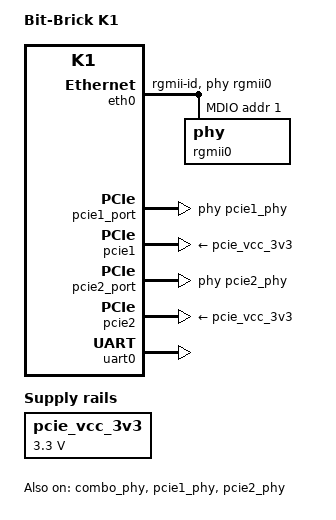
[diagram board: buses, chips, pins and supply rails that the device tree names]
// SPDX-License-Identifier: GPL-2.0 OR MIT
/*
 * Copyright (C) 2024 Yangyu Chen <cyy@cyyself.name>
 * Copyright (C) 2025 Javier Martinez Canillas <javierm@redhat.com>
 */

#include "k1.dtsi"
#include "k1-pinctrl.dtsi"

/ {
	model = "Bit-Brick K1";
	compatible = "bitbrick,k1", "spacemit,k1";

	aliases {
		ethernet0 = &eth0;
		serial0 = &uart0;
	};

	chosen {
		stdout-path = "serial0";
	};

 pcie_vcc_3v3: pcie-vcc3v3 {
   compatible = "regulator-fixed";
   regulator-name = "PCIE_VCC3V3";
   regulator-min-microvolt = <3300000>;
   regulator-max-microvolt = <3300000>;
   regulator-always-on;
 };
};

&combo_phy {
 pinctrl-names = "default";
 pinctrl-0 = <&pcie0_3_cfg>;
 status = "okay";
};

&eth0 {
	phy-handle = <&rgmii0>;
	phy-mode = "rgmii-id";
	pinctrl-names = "default";
	pinctrl-0 = <&gmac0_cfg>;
	rx-internal-delay-ps = <0>;
	tx-internal-delay-ps = <0>;
	status = "okay";

	mdio-bus {
		#address-cells = <0x1>;
		#size-cells = <0x0>;

		reset-gpios = <&gpio K1_GPIO(110) GPIO_ACTIVE_LOW>;
		reset-delay-us = <10000>;
		reset-post-delay-us = <100000>;

		rgmii0: phy@1 {
			reg = <0x1>;
		};
	};
};

&pdma {
	status = "okay";
};

&pcie1_phy {
 pinctrl-names = "default";
 pinctrl-0 = <&pcie1_3_cfg>;
 status = "okay";
};

&pcie1_port {
 phys = <&pcie1_phy>;
};

&pcie1 {
 vpcie3v3-supply = <&pcie_vcc_3v3>;
 status = "okay";
};

&pcie2_phy {
 pinctrl-names = "default";
 pinctrl-0 = <&pcie2_4_cfg>;
 status = "okay";
};

&pcie2_port {
 phys = <&pcie2_phy>;
};

&pcie2 {
 vpcie3v3-supply = <&pcie_vcc_3v3>;
 status = "okay";
};

&uart0 {
	pinctrl-names = "default";
	pinctrl-0 = <&uart0_2_cfg>;
	status = "okay";
};
